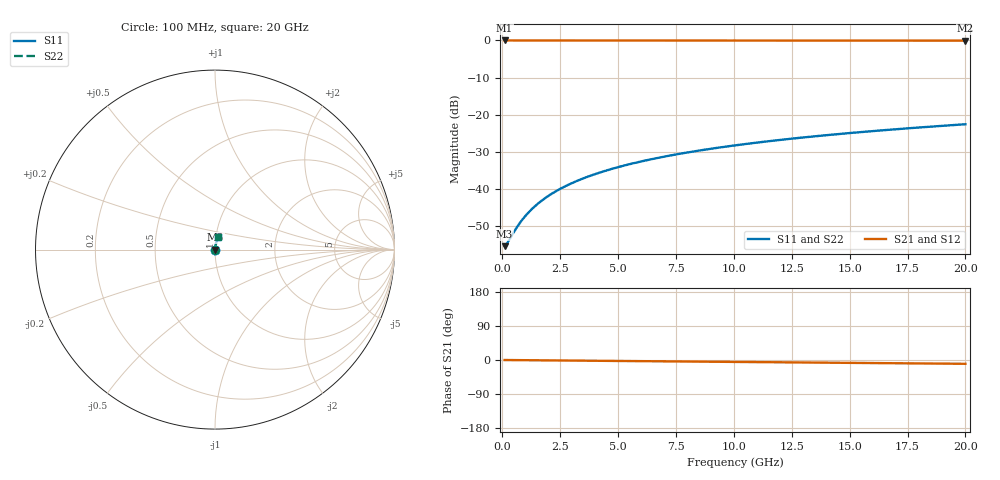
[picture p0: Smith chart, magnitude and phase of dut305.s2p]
! Touchstone file exported from HFSS 2026.1.0
!  File:  C:/ffzhzh/LocalFiles/Ansys_Project_Files/temp_train_TSV_305_1783017992_46388.aedt
!  Generated:  02:49:36 AM Jul  3, 2026
!  Design:  TSV
!  Project:  temp_train_TSV_305_1783017992_46388
! Variables:
!  h_bsmrdl = 2um
!  h_ox = 20um
!  h_rdl = 5um
!  h_sub = 97.91um
!  h_tmrdl = 5um
!  h_tsv = 97.91um
!  h_via = 3um
!  l_bsmrdl = 300um
!  l_sub = 405.24um
!  l_tmrdl = 200um
!  m_sub = 200um
!  pitch = 21.95um
!  r_tsv = 2.62um
!  s_tmrdl = 10um
!  w_bsmrdl = 18um
!  w_sub = 500um
!  w_tmrdl = 12um
!  x_tsv_center1 = 206um
!  x_tsv_center2 = 524um
!  x_tsv_center3 = 736um
!  x_tsv_center4 = 1054um
!  x_tsv_center5 = 1266um
!  x_tsv_center6 = 1584um
# GHz S MA R 50.000000
! Terminal data exported
! Port[1] = TSV1_1_T1
! Port[2] = TSV1_1_T2
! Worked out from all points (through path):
!   200 points, 100 MHz to 20 GHz, reference 50 ohm
!   highest |S21| = -0.01 dB at 100 MHz (marker M1); lowest = -0.1 dB at 20 GHz (marker M2)
!   group delay of S21, straight-line fit = 1.39 ps
!   lowest |S11| = -55.4 dB at 100 MHz (marker M3), VSWR 1.00, Z = 50.2 + j0.0407 ohm
!   |S11| at or under -10 dB: start of sweep to end of sweep
!   |S22| runs from -55.4 to -22.6 dB; largest |S21 - S12| = 2.1e-15
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0.1  0.001689 13.9  0.9984 -0.1  0.9984 -0.1  0.001689 13.9
! Gamma 0 0 0 0
! Port Impedance 50 0 50 0
0.2  0.001836 26.2  0.9984 -0.1  0.9984 -0.1  0.001836 26.2
0.6  0.002935 54.6  0.9983 -0.3  0.9983 -0.3  0.002935 54.6
0.7  0.003268 58.3  0.9983 -0.4  0.9983 -0.4  0.003268 58.3
0.9  0.003965 63.9  0.9983 -0.5  0.9983 -0.5  0.003965 63.9
1.2  0.005055 69.3  0.9983 -0.6  0.9983 -0.6  0.005055 69.3
1.5  0.006175 72.7  0.9982 -0.8  0.9982 -0.8  0.006175 72.7
1.9  0.007693 75.6  0.9982 -1.0  0.9982 -1.0  0.007693 75.6
2.4  0.009609 77.8  0.9981 -1.2  0.9981 -1.2  0.009609 77.8
2.9  0.01153 79.1  0.998 -1.5  0.998 -1.5  0.01153 79.1
3.5  0.01385 80.1  0.9979 -1.8  0.9979 -1.8  0.01385 80.1
4.2  0.01654 80.7  0.9978 -2.2  0.9978 -2.2  0.01654 80.7
5  0.01961 81.0  0.9976 -2.6  0.9976 -2.6  0.01961 81.0
5.9  0.02303 81.1  0.9974 -3.0  0.9974 -3.0  0.02303 81.1
6.8  0.02644 81.1  0.9971 -3.5  0.9971 -3.5  0.02644 81.1
8.3  0.03206 80.8  0.9967 -4.2  0.9967 -4.2  0.03206 80.8
10.1  0.03871 80.2  0.9961 -5.1  0.9961 -5.1  0.03871 80.2
11.7  0.04456 79.6  0.9956 -5.9  0.9956 -5.9  0.04456 79.6
13.4  0.05071 79.0  0.995 -6.8  0.995 -6.8  0.05071 79.0
15  0.05645 78.4  0.9944 -7.6  0.9944 -7.6  0.05645 78.4
16.7  0.06251 77.7  0.9938 -8.4  0.9938 -8.4  0.06251 77.7
20  0.07416 76.4  0.9926 -10.0  0.9926 -10.0  0.07416 76.4
